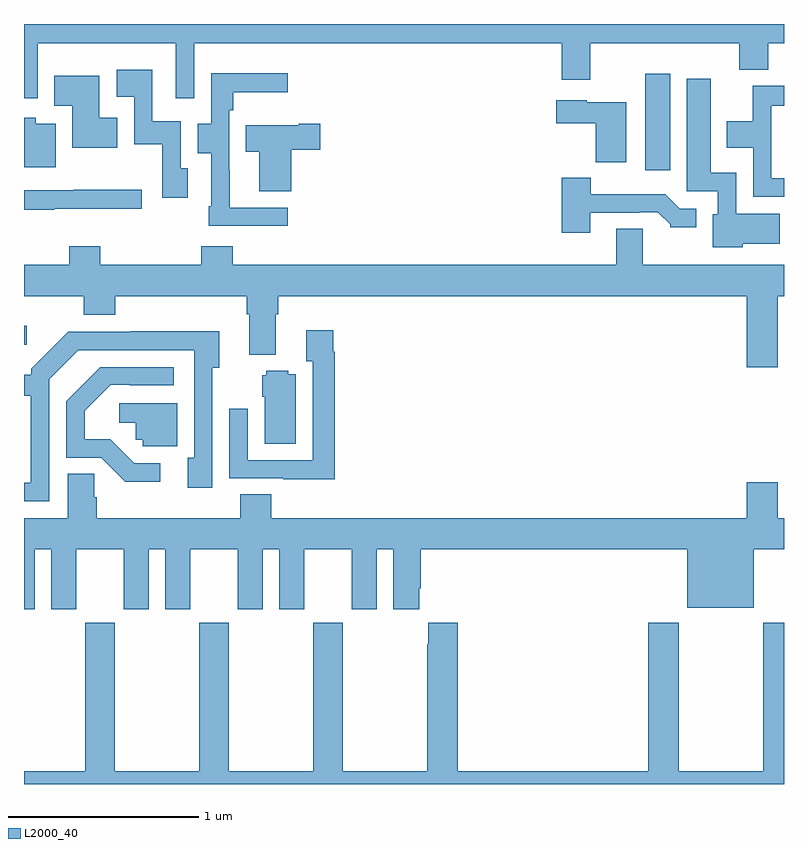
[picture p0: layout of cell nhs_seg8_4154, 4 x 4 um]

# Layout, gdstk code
import gdstk
lib = gdstk.Library(unit=1e-6, precision=1e-09)
def R(c, l, rs):  # rectangles x0, y0, x1, y1
    for r in rs: c.add(gdstk.rectangle(r[:2], r[2:], *l))
def P(c, l, *ps):  # polygons
    for p in ps: c.add(gdstk.Polygon(p, *l))
L2000_40 = (2000, 40)

nhs_seg8_4154 = lib.new_cell('nhs_seg8_4154')
R(nhs_seg8_4154, L2000_40, [(365,1148.213,365.014,1148.311), (368.27,1149.129,368.401,1149.637)])
P(nhs_seg8_4154, L2000_40, [(365.073,1149.8),(365.799,1149.8),(365.799,1149.51),(365.895,1149.51),(365.895,1149.8),(367.829,1149.8),(367.829,1149.606),(367.981,1149.606),(367.981,1149.8),(368.765,1149.8),(368.765,1149.659),(368.917,1149.659),(368.917,1149.8),(369,1149.8),(369,1149.9),(365,1149.9),(365,1149.51),(365.073,1149.51)],
  [(365.863,1149.141),(365.826,1149.141),(365.826,1149.388),(365.676,1149.388),(365.676,1149.658),(365.487,1149.658),(365.487,1149.518),(365.58,1149.518),(365.58,1149.266),(365.728,1149.266),(365.728,1148.985),(365.863,1148.985)],
  [(366.388,1148.934),(366.082,1148.934),(366.082,1149.131),(366.081,1149.131),(366.081,1149.446),(366.101,1149.446),(366.101,1149.542),(366.388,1149.542),(366.388,1149.64),(365.985,1149.64),(365.985,1149.375),(365.915,1149.375),(365.915,1149.22),(365.985,1149.22),(365.985,1148.941),(365.973,1148.941),(365.973,1148.838),(366.388,1148.838)],
  [(365.491,1149.406),(365.395,1149.406),(365.395,1149.628),(365.158,1149.628),(365.158,1149.47),(365.255,1149.47),(365.255,1149.248),(365.491,1149.248)],
  [(368.784,1148.744),(368.977,1148.744),(368.977,1148.902),(368.748,1148.902),(368.748,1149.118),(368.614,1149.118),(368.614,1149.613),(368.489,1149.613),(368.489,1149.021),(368.652,1149.021),(368.652,1148.898),(368.624,1148.898),(368.624,1148.726),(368.784,1148.726)],
  [(369,1149.087),(368.934,1149.087),(368.934,1149.47),(369,1149.47),(369,1149.574),(368.836,1149.574),(368.836,1149.388),(368.699,1149.388),(368.699,1149.248),(368.838,1149.248),(368.838,1148.991),(369,1148.991)],
  [(368.17,1149.487),(367.962,1149.487),(367.962,1149.499),(367.8,1149.499),(367.8,1149.377),(368.008,1149.377),(368.008,1149.173),(368.17,1149.173)],
  [(365.167,1149.376),(365.062,1149.376),(365.062,1149.406),(365,1149.406),(365,1149.146),(365.167,1149.146)],
  [(366.407,1149.238),(366.559,1149.238),(366.559,1149.375),(366.446,1149.375),(366.446,1149.367),(366.166,1149.367),(366.166,1149.227),(366.239,1149.227),(366.239,1149.019),(366.407,1149.019)],
  [(367.981,1148.907),(368.237,1148.907),(368.237,1148.91),(368.336,1148.91),(368.4,1148.846),(368.4,1148.831),(368.539,1148.831),(368.539,1148.928),(368.451,1148.928),(368.375,1149.004),(367.984,1149.004),(367.984,1149.091),(367.829,1149.091),(367.829,1148.802),(367.981,1148.802)],
  [(365.159,1148.927),(365.62,1148.927),(365.62,1149.027),(365.263,1149.027),(365.263,1149.024),(365,1149.024),(365,1148.923),(365.159,1148.923)],
  [(368.968,1148.468),(369,1148.468),(369,1148.632),(368.257,1148.632),(368.257,1148.822),(368.117,1148.822),(368.117,1148.632),(366.098,1148.632),(366.098,1148.731),(365.933,1148.731),(365.933,1148.632),(365.402,1148.632),(365.402,1148.731),(365.237,1148.731),(365.237,1148.632),(365,1148.632),(365,1148.468),(365.315,1148.468),(365.315,1148.369),(365.48,1148.369),(365.48,1148.468),(366.173,1148.468),(366.173,1148.372),(366.185,1148.372),(366.185,1148.159),(366.325,1148.159),(366.325,1148.372),(366.338,1148.372),(366.338,1148.468),(368.804,1148.468),(368.804,1148.094),(368.968,1148.094)],
  [(366.635,1148.174),(366.628,1148.174),(366.628,1148.287),(366.485,1148.287),(366.485,1148.126),(366.519,1148.126),(366.519,1147.605),(366.177,1147.605),(366.177,1147.876),(366.081,1147.876),(366.081,1147.509),(366.365,1147.509),(366.365,1147.505),(366.635,1147.505)],
  [(365.133,1148.031),(365.286,1148.184),(365.895,1148.184),(365.895,1147.618),(365.861,1147.618),(365.861,1147.458),(365.991,1147.458),(365.991,1148.09),(366.028,1148.09),(366.028,1148.282),(365.563,1148.282),(365.563,1148.28),(365.232,1148.28),(365.037,1148.085),(365.037,1148.053),(365,1148.053),(365,1147.944),(365.036,1147.944),(365.036,1147.485),(365,1147.485),(365,1147.389),(365.133,1147.389)],
  [(365.716,1147.587),(365.58,1147.587),(365.453,1147.714),(365.32,1147.714),(365.32,1147.864),(365.457,1148.001),(365.557,1148.001),(365.557,1147.998),(365.788,1147.998),(365.788,1148.094),(365.402,1148.094),(365.223,1147.915),(365.223,1147.617),(365.406,1147.617),(365.534,1147.49),(365.716,1147.49)],
  [(366.43,1148.056),(366.39,1148.056),(366.39,1148.074),(366.276,1148.074),(366.276,1148.052),(366.254,1148.052),(366.254,1147.938),(366.266,1147.938),(366.266,1147.69),(366.43,1147.69)],
  [(365.806,1147.905),(365.502,1147.905),(365.502,1147.802),(365.589,1147.802),(365.589,1147.713),(365.625,1147.713),(365.625,1147.677),(365.806,1147.677)],
  [(365.056,1147.136),(365.144,1147.136),(365.144,1146.819),(365.275,1146.819),(365.275,1147.136),(365.525,1147.136),(365.525,1146.819),(365.656,1146.819),(365.656,1147.136),(365.744,1147.136),(365.744,1146.819),(365.875,1146.819),(365.875,1147.136),(366.125,1147.136),(366.125,1146.819),(366.256,1146.819),(366.256,1147.136),(366.344,1147.136),(366.344,1146.819),(366.475,1146.819),(366.475,1147.136),(366.725,1147.136),(366.725,1146.819),(366.856,1146.819),(366.856,1147.136),(366.944,1147.136),(366.944,1146.819),(367.081,1146.819),(367.081,1146.931),(367.088,1146.931),(367.088,1147.136),(368.492,1147.136),(368.492,1146.827),(368.842,1146.827),(368.842,1147.136),(369,1147.136),(369,1147.3),(368.968,1147.3),(368.968,1147.489),(368.804,1147.489),(368.804,1147.3),(366.302,1147.3),(366.302,1147.424),(366.137,1147.424),(366.137,1147.3),(365.384,1147.3),(365.384,1147.41),(365.369,1147.41),(365.369,1147.532),(365.231,1147.532),(365.231,1147.3),(365,1147.3),(365,1146.819),(365.056,1146.819)],
  [(369,1146.748),(368.89,1146.748),(368.89,1145.968),(368.445,1145.968),(368.445,1146.748),(368.285,1146.748),(368.285,1145.968),(367.283,1145.968),(367.283,1146.748),(367.127,1146.748),(367.127,1146.635),(367.123,1146.635),(367.123,1145.968),(366.678,1145.968),(366.678,1146.748),(366.523,1146.748),(366.523,1145.968),(366.078,1145.968),(366.078,1146.748),(365.923,1146.748),(365.923,1145.968),(365.478,1145.968),(365.478,1146.748),(365.323,1146.748),(365.323,1145.968),(365,1145.968),(365,1145.9),(369,1145.9)])

lib.write_gds('nhs_seg8_4154.gds')
